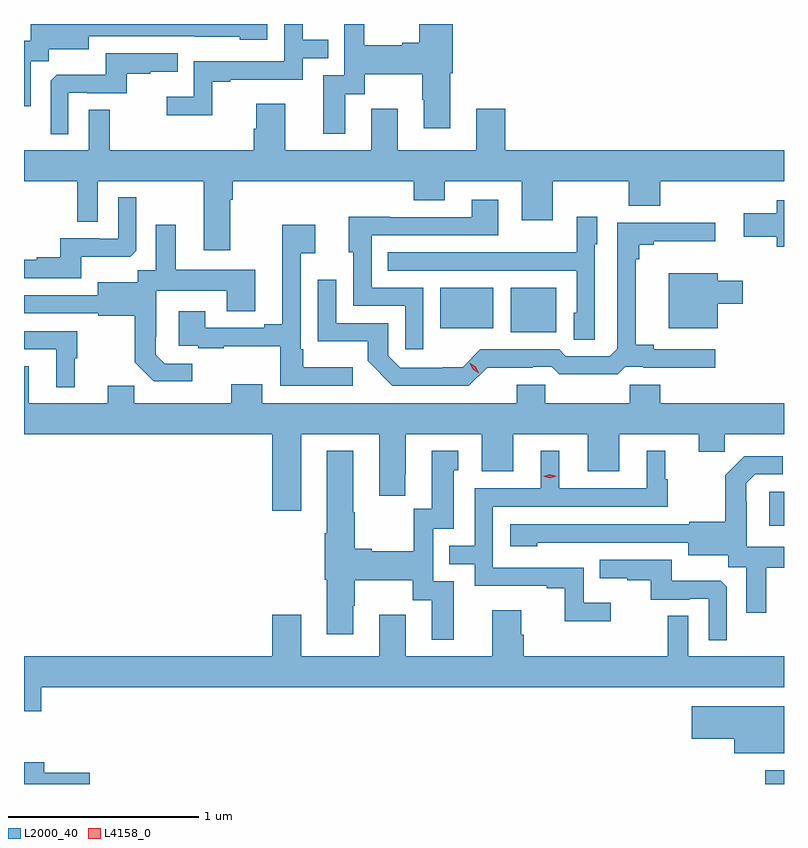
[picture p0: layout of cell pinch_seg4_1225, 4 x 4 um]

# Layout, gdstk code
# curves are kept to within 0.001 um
import gdstk
lib = gdstk.Library(unit=1e-6, precision=1e-09)
def R(c, l, rs):  # rectangles x0, y0, x1, y1
    for r in rs: c.add(gdstk.rectangle(r[:2], r[2:], *l))
def P(c, l, *ps):  # polygons
    for p in ps: c.add(gdstk.Polygon(p, *l))
L2000_40 = (2000, 40)
L4158_0 = (4158, 0)

pinch_seg4_1225 = lib.new_cell('pinch_seg4_1225')
R(pinch_seg4_1225, L2000_40, [(147.315,813.628,147.413,813.7), (147.335,814.986,147.413,815.166), (145.976,816.005,146.215,816.241), (145.604,816.026,145.882,816.241)])
P(pinch_seg4_1225, L2000_40, [(144.405,817.323),(144.499,817.323),(144.499,817.335),(144.879,817.335),(144.879,817.449),(145.013,817.449),(145.013,817.545),(144.879,817.545),(144.879,817.628),(144.783,817.628),(144.783,817.431),(144.306,817.431),(144.306,817.246),(144.165,817.246),(144.165,817.148),(144.405,817.148)],
  [(145.105,817.258),(145.207,817.258),(145.207,817.364),(145.51,817.364),(145.51,817.23),(145.517,817.23),(145.517,817.08),(145.657,817.08),(145.657,817.368),(145.67,817.368),(145.67,817.628),(145.492,817.628),(145.492,817.529),(145.403,817.529),(145.403,817.516),(145.203,817.516),(145.203,817.628),(145.098,817.628),(145.098,817.359),(144.989,817.359),(144.989,817.05),(145.105,817.05)],
  [(143.449,817.432),(143.544,817.432),(143.544,817.496),(143.755,817.496),(143.755,817.563),(144.313,817.563),(144.313,817.562),(144.549,817.562),(144.549,817.544),(144.694,817.544),(144.694,817.628),(143.448,817.628),(143.448,817.54),(143.413,817.54),(143.413,817.194),(143.449,817.194)],
  [(143.646,817.266),(143.746,817.266),(143.746,817.263),(143.954,817.263),(143.954,817.365),(144.077,817.365),(144.077,817.376),(144.221,817.376),(144.221,817.473),(143.844,817.473),(143.844,817.361),(143.585,817.361),(143.553,817.329),(143.553,817.049),(143.646,817.049)],
  [(144.499,816.704),(144.512,816.704),(144.512,816.8),(145.463,816.8),(145.463,816.701),(145.627,816.701),(145.627,816.8),(146.033,816.8),(146.033,816.594),(146.197,816.594),(146.197,816.8),(146.597,816.8),(146.597,816.672),(146.761,816.672),(146.761,816.8),(147.413,816.8),(147.413,816.964),(145.946,816.964),(145.946,817.183),(145.793,817.183),(145.793,816.964),(145.381,816.964),(145.381,817.183),(145.241,817.183),(145.241,816.964),(144.787,816.964),(144.787,817.207),(144.635,817.207),(144.635,817.077),(144.623,817.077),(144.623,816.964),(143.863,816.964),(143.863,817.178),(143.754,817.178),(143.754,816.964),(143.413,816.964),(143.413,816.8),(143.694,816.8),(143.694,816.586),(143.802,816.586),(143.802,816.8),(144.359,816.8),(144.359,816.438),(144.499,816.438)],
  [(143.713,816.404),(143.971,816.404),(144.003,816.435),(144.003,816.715),(143.91,816.715),(143.91,816.498),(143.81,816.498),(143.81,816.501),(143.603,816.501),(143.603,816.4),(143.479,816.4),(143.479,816.388),(143.413,816.388),(143.413,816.291),(143.713,816.291)],
  [(145.515,816.24),(145.242,816.24),(145.242,816.516),(145.909,816.516),(145.909,816.703),(145.769,816.703),(145.769,816.612),(145.339,816.612),(145.339,816.614),(145.121,816.614),(145.121,816.426),(145.146,816.426),(145.146,816.144),(145.419,816.144),(145.419,815.916),(145.515,815.916)],
  [(147.413,816.7),(147.374,816.7),(147.374,816.631),(147.201,816.631),(147.201,816.509),(147.374,816.509),(147.374,816.455),(147.413,816.455)],
  [(146.418,816.468),(146.431,816.468),(146.431,816.613),(146.322,816.613),(146.322,816.427),(146.005,816.427),(146.005,816.426),(145.327,816.426),(145.327,816.33),(146.322,816.33),(146.322,816.108),(146.306,816.108),(146.306,815.965),(146.418,815.965)],
  [(145.85,815.819),(146.09,815.819),(146.09,815.823),(146.19,815.823),(146.23,815.784),(146.537,815.784),(146.577,815.823),(146.671,815.823),(146.671,815.819),(147.052,815.819),(147.052,815.916),(146.728,815.916),(146.728,815.939),(146.632,815.939),(146.632,816.389),(146.651,816.389),(146.651,816.466),(146.728,816.466),(146.728,816.485),(147.052,816.485),(147.052,816.582),(146.535,816.582),(146.535,815.919),(146.496,815.88),(146.265,815.88),(146.229,815.916),(145.815,815.916),(145.721,815.822),(145.616,815.822),(145.616,815.82),(145.392,815.82),(145.329,815.883),(145.329,816.054),(145.056,816.054),(145.056,816.283),(144.96,816.283),(144.96,815.957),(145.222,815.957),(145.222,815.855),(145.352,815.724),(145.755,815.724)],
  [(144.298,815.841),(144.153,815.841),(144.106,815.888),(144.106,815.983),(144.108,815.983),(144.108,816.224),(144.479,816.224),(144.479,816.115),(144.631,816.115),(144.631,816.334),(144.211,816.334),(144.211,816.571),(144.107,816.571),(144.107,816.332),(144.012,816.332),(144.012,816.268),(143.801,816.268),(143.801,816.201),(143.413,816.201),(143.413,816.105),(143.805,816.105),(143.805,816.093),(143.997,816.093),(143.997,815.847),(144.097,815.747),(144.298,815.747)],
  [(145.144,815.821),(144.883,815.821),(144.883,815.917),(144.87,815.917),(144.87,816.422),(144.946,816.422),(144.946,816.571),(144.773,816.571),(144.773,816.049),(144.677,816.049),(144.677,816.03),(144.367,816.03),(144.367,816.115),(144.227,816.115),(144.227,815.934),(144.331,815.934),(144.331,815.922),(144.463,815.922),(144.463,815.933),(144.762,815.933),(144.762,815.724),(145.144,815.724)],
  [(147.064,816.155),(147.196,816.155),(147.196,816.277),(147.064,816.277),(147.064,816.316),(146.807,816.316),(146.807,816.026),(147.064,816.026)],
  [(143.68,815.868),(143.692,815.868),(143.692,816.012),(143.413,816.012),(143.413,815.916),(143.582,815.916),(143.582,815.717),(143.68,815.717)],
  [(144.871,815.468),(145.283,815.468),(145.283,815.145),(145.42,815.145),(145.42,815.257),(145.423,815.257),(145.423,815.468),(145.823,815.468),(145.823,815.274),(145.987,815.274),(145.987,815.468),(146.381,815.468),(146.381,815.274),(146.545,815.274),(146.545,815.468),(146.963,815.468),(146.963,815.378),(147.101,815.378),(147.101,815.468),(147.413,815.468),(147.413,815.632),(146.762,815.632),(146.762,815.73),(146.602,815.73),(146.602,815.632),(146.157,815.632),(146.157,815.73),(146.006,815.73),(146.006,815.632),(144.667,815.632),(144.667,815.731),(144.503,815.731),(144.503,815.632),(143.993,815.632),(143.993,815.723),(143.855,815.723),(143.855,815.632),(143.437,815.632),(143.437,815.827),(143.413,815.827),(143.413,815.468),(144.719,815.468),(144.719,815.067),(144.871,815.067)],
  [(146.5,814.582),(146.358,814.582),(146.358,814.767),(145.881,814.767),(145.881,815.088),(146.8,815.088),(146.8,815.232),(146.788,815.232),(146.788,815.383),(146.69,815.383),(146.69,815.184),(146.23,815.184),(146.23,815.383),(146.132,815.383),(146.132,815.184),(145.785,815.184),(145.785,814.881),(145.651,814.881),(145.651,814.785),(145.785,814.785),(145.785,814.671),(146.165,814.671),(146.165,814.659),(146.26,814.659),(146.26,814.484),(146.5,814.484)],
  [(145.675,814.695),(145.566,814.695),(145.566,814.971),(145.675,814.971),(145.675,815.28),(145.699,815.28),(145.699,815.383),(145.559,815.383),(145.559,815.076),(145.463,815.076),(145.463,814.852),(145.243,814.852),(145.243,814.865),(145.155,814.865),(145.155,815.057),(145.147,815.057),(145.147,815.383),(145.007,815.383),(145.007,814.948),(144.995,814.948),(144.995,814.704),(145.007,814.704),(145.007,814.416),(145.147,814.416),(145.147,814.566),(145.155,814.566),(145.155,814.7),(145.458,814.7),(145.458,814.594),(145.559,814.594),(145.559,814.386),(145.675,814.386)],
  [(147.319,814.766),(147.413,814.766),(147.413,814.876),(147.216,814.876),(147.216,815.117),(147.214,815.117),(147.214,815.212),(147.261,815.259),(147.406,815.259),(147.406,815.353),(147.205,815.353),(147.105,815.253),(147.105,815.008),(146.913,815.008),(146.913,814.995),(145.971,814.995),(145.971,814.88),(146.115,814.88),(146.115,814.898),(146.909,814.899),(146.909,814.832),(147.12,814.832),(147.12,814.768),(147.215,814.768),(147.215,814.53),(147.319,814.53)],
  [(147.111,814.665),(147.079,814.697),(146.821,814.697),(146.821,814.809),(146.443,814.809),(146.443,814.712),(146.587,814.712),(146.587,814.701),(146.711,814.701),(146.711,814.599),(146.918,814.599),(146.918,814.602),(147.018,814.602),(147.018,814.385),(147.111,814.385)],
  [(143.504,814.136),(147.413,814.136),(147.413,814.3),(146.91,814.3),(146.91,814.514),(146.802,814.514),(146.802,814.3),(146.042,814.3),(146.042,814.413),(146.029,814.413),(146.029,814.543),(145.877,814.543),(145.877,814.3),(145.423,814.3),(145.423,814.519),(145.283,814.519),(145.283,814.3),(144.871,814.3),(144.871,814.519),(144.719,814.519),(144.719,814.3),(143.413,814.3),(143.413,814.012),(143.504,814.012)],
  [(147.413,814.036),(146.928,814.036),(146.928,813.866),(147.152,813.866),(147.152,813.791),(147.413,813.791)],
  [(143.759,813.688),(143.519,813.688),(143.519,813.742),(143.413,813.742),(143.413,813.628),(143.759,813.628)])
P(pinch_seg4_1225, L4158_0, [(146.181,815.238),(146.145,815.248),(146.145,815.248),(146.145,815.248),(146.181,815.258),(146.217,815.248),(146.217,815.248),(146.217,815.248)],
  [(145.806,815.789),(145.775,815.81),(145.759,815.843),(145.759,815.844),(145.759,815.844),(145.79,815.823),(145.806,815.79),(145.806,815.789)])

lib.write_gds('pinch_seg4_1225.gds')
